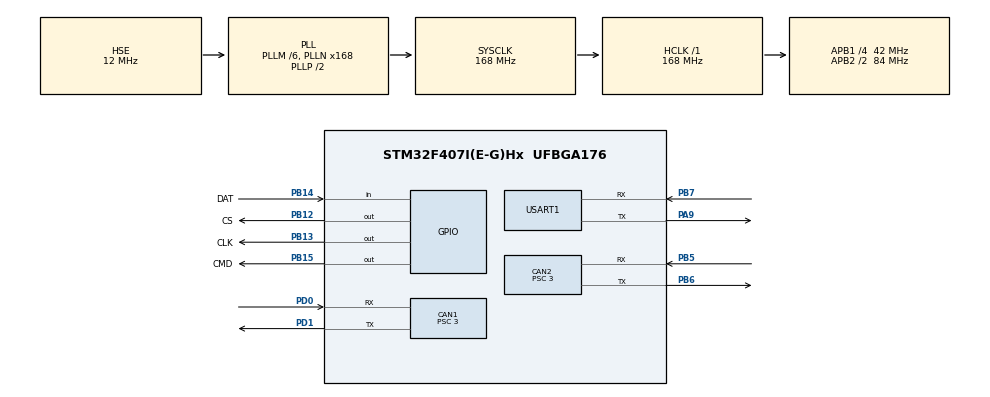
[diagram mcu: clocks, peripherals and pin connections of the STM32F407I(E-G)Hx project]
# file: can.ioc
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CAN1.BS1=CAN_BS1_10TQ
CAN1.BS2=CAN_BS2_3TQ
CAN1.CalculateTimeQuantum=71.42857142857143
CAN1.Prescaler=3
CAN2.BS1=CAN_BS1_10TQ
CAN2.BS2=CAN_BS2_3TQ
CAN2.CalculateTimeQuantum=71.42857142857143
CAN2.Prescaler=3
Dma.Request0=USART1_RX
Dma.Request1=USART1_TX
Dma.USART1_RX.0.Direction=DMA_PERIPH_TO_MEMORY
Dma.USART1_RX.0.FIFOMode=DMA_FIFOMODE_DISABLE
Dma.USART1_RX.0.Instance=DMA2_Stream2
Dma.USART1_RX.0.MemDataAlignment=DMA_MDATAALIGN_BYTE
Dma.USART1_RX.0.MemInc=DMA_MINC_ENABLE
Dma.USART1_RX.0.Mode=DMA_NORMAL
Dma.USART1_RX.0.PeriphDataAlignment=DMA_PDATAALIGN_BYTE
Dma.USART1_RX.0.PeriphInc=DMA_PINC_DISABLE
Dma.USART1_RX.0.Priority=DMA_PRIORITY_HIGH
Dma.USART1_TX.1.Direction=DMA_MEMORY_TO_PERIPH
Dma.USART1_TX.1.FIFOMode=DMA_FIFOMODE_DISABLE
Dma.USART1_TX.1.Instance=DMA2_Stream7
Dma.USART1_TX.1.MemDataAlignment=DMA_MDATAALIGN_BYTE
Dma.USART1_TX.1.MemInc=DMA_MINC_ENABLE
Dma.USART1_TX.1.Mode=DMA_NORMAL
Dma.USART1_TX.1.PeriphDataAlignment=DMA_PDATAALIGN_BYTE
Dma.USART1_TX.1.PeriphInc=DMA_PINC_DISABLE
Dma.USART1_TX.1.Priority=DMA_PRIORITY_HIGH
Mcu.Family=STM32F4
Mcu.Name=STM32F407I(E-G)Hx
Mcu.Package=UFBGA176
NVIC.CAN1_RX0_IRQn=true\:0\:0\:false\:false\:true\:true\:true
NVIC.CAN2_RX0_IRQn=true\:0\:0\:false\:false\:true\:true\:true
NVIC.DMA2_Stream2_IRQn=true\:0\:0\:false\:false\:true\:false\:true
NVIC.DMA2_Stream7_IRQn=true\:0\:0\:false\:false\:true\:false\:true
NVIC.PriorityGroup=NVIC_PRIORITYGROUP_4
NVIC.TIM2_IRQn=true\:0\:0\:false\:false\:true\:true\:true
NVIC.USART1_IRQn=true\:0\:0\:true\:false\:true\:true\:true
PA13.Mode=Serial_Wire
PA13.Signal=SYS_JTMS-SWDIO
PA14.Mode=Serial_Wire
PA14.Signal=SYS_JTCK-SWCLK
PA9.Mode=Asynchronous
PA9.Signal=USART1_TX
PB12.GPIO_Label=CS
PB12.Signal=GPIO_Output
PB13.GPIO_Label=CLK
PB13.Signal=GPIO_Output
PB14.GPIO_Label=DAT
PB14.GPIO_PuPd=GPIO_PULLDOWN
PB14.Signal=GPIO_Input
PB15.GPIO_Label=CMD
PB15.Signal=GPIO_Output
PB5.Mode=Slave
PB5.Signal=CAN2_RX
PB6.Mode=Slave
PB6.Signal=CAN2_TX
PB7.Mode=Asynchronous
PB7.Signal=USART1_RX
PD0.Mode=Master
PD0.Signal=CAN1_RX
PD1.Mode=Master
PD1.Signal=CAN1_TX
PH0-OSC_IN.Mode=HSE-External-Oscillator
PH0-OSC_IN.Signal=RCC_OSC_IN
PH1-OSC_OUT.Mode=HSE-External-Oscillator
PH1-OSC_OUT.Signal=RCC_OSC_OUT
ProjectManager.HeapSize=0x200
ProjectManager.StackSize=0x400
ProjectManager.TargetToolchain=MDK-ARM V5
RCC.48MHZClocksFreq_Value=84000000
RCC.AHBFreq_Value=168000000
RCC.APB1CLKDivider=RCC_HCLK_DIV4
RCC.APB1Freq_Value=42000000
RCC.APB1TimFreq_Value=84000000
RCC.APB2CLKDivider=RCC_HCLK_DIV2
RCC.APB2Freq_Value=84000000
RCC.APB2TimFreq_Value=168000000
RCC.CortexFreq_Value=168000000
RCC.HCLKFreq_Value=168000000
RCC.HSE_VALUE=12000000
RCC.HSI_VALUE=16000000
RCC.LSE_VALUE=32768
RCC.PLLM=6
RCC.PLLN=168
RCC.PLLSourceVirtual=RCC_PLLSOURCE_HSE
RCC.SYSCLKFreq_VALUE=168000000
RCC.SYSCLKSource=RCC_SYSCLKSOURCE_PLLCLK
RCC.VCOOutputFreq_Value=336000000
TIM2.AutoReloadPreload=TIM_AUTORELOAD_PRELOAD_ENABLE
TIM2.Period=999
TIM2.Prescaler=16799
USART1.VirtualMode=VM_ASYNC
VP_TIM2_VS_ClockSourceINT.Mode=Internal
board=custom

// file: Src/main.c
/* USER CODE BEGIN Header */
/**
******************************************************************************
* @file           : main.c
* @brief          : Main program body
******************************************************************************
* @attention
*
* <h2><center>&copy; Copyright (c) 2019 STMicroelectronics.
* All rights reserved.</center></h2>
*
* This software component is licensed by ST under BSD 3-Clause license,
* the "License"; You may not use this file except in compliance with the
* License. You may obtain a copy of the License at:
*                        opensource.org/licenses/BSD-3-Clause
*
******************************************************************************
*/
/* USER CODE END Header */

#include "main.h"
#include "can.h"
#include "dma.h"
#include "tim.h"
#include "usart.h"
#include "gpio.h"

/* USER CODE BEGIN Includes */
#include "bsp_can.h"
#include "CAN_receive.h"
#include "ps2.h"
#include "pid.h"
#include "usart.h"
#include "mecanum_control.h"
#include "encoder_position.h"
#include "command_parser.h"
#include <math.h>
#include <string.h>
#include <stdio.h>

/* USER CODE END Includes */

/* USER CODE BEGIN PD */
#define WHEEL_FR 0  // 右前�?
#define WHEEL_FL 1  // 左前�?
#define WHEEL_BL 2  // 左后�?
#define WHEEL_BR 3  // 右后�?
/* USER CODE END PD */

/* USER CODE BEGIN PV */
PID_TypeDef motor_pid[4];
char tx_buffer[1000];
extern TIM_HandleTypeDef htim2;
extern UART_HandleTypeDef huart1;  // 确保你已经在别处定义了这个句�?
extern volatile uint8_t uart_tx_done;
extern void UART1_Send_DMA(uint8_t *buf, uint16_t len);

// 麦克纳姆轮控制结构体
mecanum_control_t mecanum;

// 编码器位置反馈结构体
encoder_position_t encoder_position;

// 命令解析器
command_parser_t cmd_parser;

// 串口接收缓冲区
uint8_t uart_rx_char = 0;

/* USER CODE END PV */

void SystemClock_Config(void);
/* USER CODE BEGIN PFP */
void UART1_Send_DMA(uint8_t *buf, uint16_t len);
void UART1_Send_IT(uint8_t *buf, uint16_t len);

// 坐标导航示例函数
void navigation_demo(void);
void goto_coordinate(float x, float y);

/* USER CODE END PFP */

int main(void)
{

  /* MCU Configuration--------------------------------------------------------*/

  /* Reset of all peripherals, Initializes the Flash interface and the Systick. */
  HAL_Init();

  /* USER CODE BEGIN Init */

//float wheel_speed_FR;
//float wheel_speed_FL;
//float wheel_speed_BL;
//float wheel_speed_BR;
  /* USER CODE END Init */

  /* Configure the system clock */
  SystemClock_Config();

  /* Initialize all configured peripherals */
  MX_GPIO_Init();
  MX_DMA_Init();
  MX_CAN1_Init();
  MX_CAN2_Init();
  MX_USART1_UART_Init();
  MX_TIM2_Init();
  /* USER CODE BEGIN 2 */
HAL_TIM_Base_Start_IT(&htim2);
can_filter_init();

  // 修改 PID 初始化代码
  for (int i = 0; i < 4; i++) {
    pid_init(&motor_pid[i]);
    motor_pid[i].f_param_init(&motor_pid[i], PID_Speed, 4000, 500, 10, 10, 4000, 500, 3.7, 0.1, 0.05);
        // PID模式（位置或速度）、最大输出、积分限幅、死区（绝对值）、控制周期、最大误差、目标值、kp、ki、kd）
        //开始版本kp=2.5，ki=0.1
        //初步调试kp=3.7，ki=0.1，kd=0.05
        //p2.7,i0.1,d0.05-0.1不错
    motor_pid[i].target = mecanum.wheel_speed[i];
  }

  // 初始化编码器位置反馈
  encoder_position_init(&encoder_position);

  // 初始化麦克纳姆轮控制
  mecanum_init(&mecanum);

  // 设置编码器位置反馈
  mecanum_set_encoder(&mecanum, &encoder_position);

  // 初始化命令解析器
  command_parser_init(&cmd_parser, &mecanum, &encoder_position);

  // 启动串口接收中断
  static uint8_t rx_char;
  HAL_UART_Receive_IT(&huart1, &rx_char, 1);

  static uint8_t is_pa0_pressed = 0; // 按键状态标志

  // 欢迎信息和帮助
  printf("=== Mecanum Wheel Navigation System ===\n");
  printf("System initialized successfully!\n");
  printf("Type 'help' for available commands\n");
  printf("Example: goto 1000 500 (navigate to x=1000mm, y=500mm)\n");
  printf("======================================\n");

  // ========== 坐标导航使用示例 ==========
  // 方法1: 直接调用goto_coordinate函数导航到指定坐标
  // 取消注释下面任意一行来测试：

  // goto_coordinate(1000.0f, 0.0f);      // 前进到 (1000, 0)
  // goto_coordinate(500.0f, 500.0f);     // 导航到 (500, 500)
  // goto_coordinate(-500.0f, 0.0f);      // 后退到 (-500, 0)

  // 方法2: 使用原始函数
  // mecanum_goto_position(&mecanum, 1000.0f, 500.0f);

  // 方法3: 启动自动演示（取消注释下面一行）
  // navigation_demo();  // 自动导航演示，会依次访问4个点

  printf(">>> Ready for navigation commands <<<\n");

  /* USER CODE END 2 */

  /* Infinite loop */
  /* USER CODE BEGIN WHILE */
  while (1)
  {
    uint32_t current_time = HAL_GetTick();

    // 检测PA0状态
    uint8_t pin_state = HAL_GPIO_ReadPin(GPIOA, GPIO_PIN_0);
    HAL_Delay(10); // 确保读取稳定

    if (pin_state == GPIO_PIN_RESET) // PA0低电平 - 按键按下，彻底停止
    {
        is_pa0_pressed = 1;// 设置按键按下标志，保持停止状态
    }

    if (is_pa0_pressed == 1) // 按键曾经被按下过，保持停止状态
    {
        mecanum_stop(&mecanum); // 停止小车运动
        CAN_cmd_chassis(0, 0, 0, 0); // 发送停止指令
        continue; // 跳过后续逻辑
    }

    // 处理正常状态下的逻辑（只有从未按过按键才会执行）
    {
        // 1米x1米方形路径导航
        static uint8_t path_step = 0;
        static uint8_t path_completed = 0;
        static uint32_t step_timer = 0;

        // 如果路径已完成，停止运动
        if (path_completed) {
            mecanum_stop(&mecanum);
            CAN_cmd_chassis(0, 0, 0, 0);
        }
        else {
            // 检查是否到达当前目标点或超时（10秒）
            if (mecanum_is_arrived(&mecanum) || (current_time - step_timer > 10000)) {
                step_timer = current_time;

                switch (path_step) {
                    case 0:
                        // 第1步：前进到 (1000, 0) - 测试Y轴正方向
                        goto_coordinate(1000.0f, 0.0f);
                        printf(">>> Step 1: Moving forward to (1000, 0) <<<\n");
                        path_step = 1;
                        break;

                    case 1:
                        // 第2步：测试X轴正方向 - 应该是右移
                        goto_coordinate(1000.0f, 500.0f);
                        printf(">>> Step 2: Testing X+ direction to (1000, 500) <<<\n");
                        path_step = 2;
                        break;

                    case 2:
                        // 第3步：测试Y轴负方向 - 应该是后退
                        goto_coordinate(500.0f, 500.0f);
                        printf(">>> Step 3: Testing Y- direction to (500, 500) <<<\n");
                        path_step = 3;
                        break;

                    case 3:
                        // 第4步：测试X轴负方向 - 应该是左移
                        goto_coordinate(500.0f, 0.0f);
                        printf(">>> Step 4: Testing X- direction to (500, 0) <<<\n");
                        path_step = 4;
                        break;

                    case 4:
                        // 回到原点测试
                        goto_coordinate(0.0f, 0.0f);
                        printf(">>> Step 5: Return to origin (0, 0) <<<\n");
                        path_step = 5;
                        break;

                    case 5:
                        // 测试完成，停止
                        mecanum_stop(&mecanum);
                        CAN_cmd_chassis(0, 0, 0, 0);
                        path_completed = 1;
                        printf(">>> Direction test completed! Robot stopped. <<<\n");
                        break;
                }
            }
        }
    }

    // 更新编码器位置反馈
    int32_t encoder_data[4];
    for (int i = 0; i < 4; i++) {
        const motor_measure_t *motor_data = get_chassis_motor_measure_point(i);
        if (motor_data) {
            encoder_data[i] = motor_data->ecd;
        }
    }
    encoder_position_update(&encoder_position, encoder_data);

    // 获取当前位置
    float current_x, current_y, current_angle;
    encoder_position_get(&encoder_position, &current_x, &current_y, &current_angle);

    // 处理串口命令
    command_parser_process(&cmd_parser);

    // 更新导航控制
    mecanum_nav_update(&mecanum);

    // 如果启用了导航演示，继续执行演示
    // navigation_demo();  // 取消注释这行来启用自动演示

    // 获取导航状态
    nav_state_t nav_state = mecanum_nav_get_state(&mecanum);
    float distance_to_target = mecanum_nav_get_distance_to_target(&mecanum);

    // 更新PID控制
    for (int i = 0; i < 4; i++)
    {
        motor_pid[i].target = mecanum.wheel_speed[i];
        const motor_measure_t *motor_data = get_chassis_motor_measure_point(i);
        if (motor_data) {
            motor_pid[i].f_cal_pid(&motor_pid[i], motor_data->speed_rpm);
        }
    }

    // 发送电机控制指令
    CAN_cmd_chassis(motor_pid[0].output, motor_pid[1].output, motor_pid[2].output, motor_pid[3].output);

    // 每1秒打印一次状态信息
    static uint32_t print_timer = 0;
    if (current_time - print_timer > 1000) {
        print_timer = current_time;

        printf("=== Robot Status ===\n");
        printf("Position: X=%.1f, Y=%.1f, Angle=%.2f\n", current_x, current_y, current_angle * 180.0f / 3.14159f);
        printf("Navigation State: %d, Distance to target: %.1f mm\n", nav_state, distance_to_target);
        printf("Wheel speeds: [%.0f, %.0f, %.0f, %.0f] rpm\n",
               mecanum.wheel_speed[0], mecanum.wheel_speed[1],
               mecanum.wheel_speed[2], mecanum.wheel_speed[3]);
        printf("==================\n");
    }

    // 示例：检查是否到达目标位置
    static uint8_t arrival_notified = 0;
    if (mecanum_is_arrived(&mecanum) && !arrival_notified) {
        printf(">>> Target position reached! <<<\n");
        arrival_notified = 1;
    }
    // 当开始新的导航时重置通知标志
    static nav_state_t last_nav_state = NAV_IDLE;
    if (nav_state == NAV_MOVING && last_nav_state != NAV_MOVING) {
        arrival_notified = 0;
    }
    last_nav_state = nav_state;

    HAL_Delay(10); // 10ms控制周期

    /* USER CODE END WHILE */

  }
}

void SystemClock_Config(void)
{
  RCC_OscInitTypeDef RCC_OscInitStruct = {0};
  RCC_ClkInitTypeDef RCC_ClkInitStruct = {0};

  /** Configure the main internal regulator output voltage
  */
  __HAL_RCC_PWR_CLK_ENABLE();
  __HAL_PWR_VOLTAGESCALING_CONFIG(PWR_REGULATOR_VOLTAGE_SCALE1);
  /** Initializes the CPU, AHB and APB busses clocks
  */
  RCC_OscInitStruct.OscillatorType = RCC_OSCILLATORTYPE_HSE;
  RCC_OscInitStruct.HSEState = RCC_HSE_ON;
  RCC_OscInitStruct.PLL.PLLState = RCC_PLL_ON;
  RCC_OscInitStruct.PLL.PLLSource = RCC_PLLSOURCE_HSE;
  RCC_OscInitStruct.PLL.PLLM = 6;
  RCC_OscInitStruct.PLL.PLLN = 168;
  RCC_OscInitStruct.PLL.PLLP = RCC_PLLP_DIV2;
  RCC_OscInitStruct.PLL.PLLQ = 4;
  if (HAL_RCC_OscConfig(&RCC_OscInitStruct) != HAL_OK)
  {
    Error_Handler();
  }
  /** Initializes the CPU, AHB and APB busses clocks
  */
  RCC_ClkInitStruct.ClockType = RCC_CLOCKTYPE_HCLK|RCC_CLOCKTYPE_SYSCLK
                              |RCC_CLOCKTYPE_PCLK1|RCC_CLOCKTYPE_PCLK2;
  RCC_ClkInitStruct.SYSCLKSource = RCC_SYSCLKSOURCE_PLLCLK;
  RCC_ClkInitStruct.AHBCLKDivider = RCC_SYSCLK_DIV1;
  RCC_ClkInitStruct.APB1CLKDivider = RCC_HCLK_DIV4;
  RCC_ClkInitStruct.APB2CLKDivider = RCC_HCLK_DIV2;

  if (HAL_RCC_ClockConfig(&RCC_ClkInitStruct, FLASH_LATENCY_5) != HAL_OK)
  {
    Error_Handler();
  }
}

/* USER CODE BEGIN 4 */

/**
  * @brief          简化的坐标导航函数 - 供main函数调用
  * @param[in]      x: 目标X坐标 (mm)
  * @param[in]      y: 目标Y坐标 (mm)
  * @retval         none
  * @note           这个函数封装了导航功能，直接在main中调用即可
  */
void goto_coordinate(float x, float y)
{
    printf(">>> Going to position (%.1f, %.1f) mm <<<\n", x, y);
    mecanum_goto_position(&mecanum, x, y);
}
/**
  * @brief          导航演示函数 - 展示自动导航序列
  * @retval         none
  * @note           演示如何使用坐标导航功能
  */
void navigation_demo(void)
{
    static uint32_t demo_timer = 0;
    static uint8_t demo_step = 0;
    static uint8_t demo_enabled = 0;
    uint32_t current_time = HAL_GetTick();

    // 启动演示（第一次调用时）
    if (!demo_enabled) {
        demo_enabled = 1;
        demo_timer = current_time;
        printf(">>> Navigation Demo Started <<<\n");
    }

    // 每5秒执行下一步，或者当前任务完成时
    if ((current_time - demo_timer > 5000) || mecanum_is_arrived(&mecanum)) {
        demo_timer = current_time;

        switch (demo_step) {
            case 0:
                goto_coordinate(1000.0f, 0.0f);    // 前进1米
                break;
            case 1:
                goto_coordinate(1000.0f, 1000.0f); // 右移1米
                break;
            case 2:
                goto_coordinate(0.0f, 1000.0f);    // 后退1米
                break;
            case 3:
                goto_coordinate(0.0f, 0.0f);       // 左移回原点
                break;
            case 4:
                mecanum_stop_navigation(&mecanum);  // 停止演示
                printf(">>> Navigation Demo Completed <<<\n");
                demo_enabled = 0;
                demo_step = 0;
                return;
        }
        demo_step++;
    }
}

/**
  * @brief          UART接收中断回调函数
  * @param[in]      huart: UART句柄
  * @retval         none
  */
void HAL_UART_RxCpltCallback(UART_HandleTypeDef *huart)
{
    static uint8_t rx_char;

    if (huart == &huart1)
    {
        // 处理接收到的字符
        command_parser_input_char(&cmd_parser, rx_char);

        // 重新启动接收
        HAL_UART_Receive_IT(&huart1, &rx_char, 1);
    }
}

/* USER CODE END 4 */

void Error_Handler(void)
{
}

/************************ (C) COPYRIGHT STMicroelectronics *****END OF FILE****/
